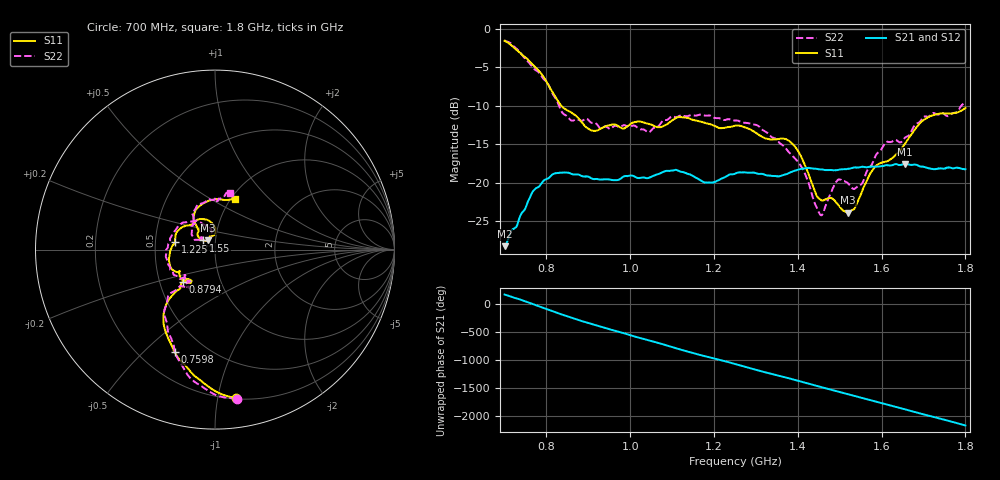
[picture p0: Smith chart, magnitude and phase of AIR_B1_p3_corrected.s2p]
! Created with skrf 1.9.0 (http://scikit-rf.org).
# Hz S RI R 50.0
!freq ReS11 ImS11 ReS21 ImS21 ReS12 ImS12 ReS22 ImS22
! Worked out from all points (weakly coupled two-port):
!   1601 points, 700 MHz to 1.8 GHz, reference 50 ohm
!   highest |S21| = -17.58 dB at 1.655 GHz (marker M1); lowest = -28.3 dB at 700 MHz (marker M2)
!   lowest |S11| = -23.9 dB at 1.52 GHz (marker M3), VSWR 1.14, Z = 46.2 + j4.78 ohm
!   |S11| at or under -10 dB: 835.1 MHz to end of sweep
!   |S22| runs from -24.3 to -1.5 dB; largest |S21 - S12| = 0.0023
!   S11 on the Smith chart (normalised r, x): 700 MHz: 0.21, -1.13; 759.8 MHz: 0.34, -0.63; 879.4 MHz: 0.66, -0.25; 1.225 GHz: 0.63, +0.06; 1.55 GHz: 0.87, +0.09; 1.8 GHz: 1.05, +0.66
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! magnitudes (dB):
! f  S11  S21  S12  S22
! 700 MHz  -1.6  -28.3  -28.0  -1.5
! 759.8 MHz  -4.3  -22.0  -21.9  -4.5
! 817.6 MHz  -8.5  -18.8  -19.0  -8.7
! 840.9 MHz  -10.3  -18.7  -18.7  -11.1
! 879.4 MHz  -11.8  -19.0  -19.1  -11.9
! 883.6 MHz  -12.1  -19.2  -19.0  -12.0
! 1.067 GHz  -12.8  -18.9  -18.8  -12.7
! 1.118 GHz  -11.5  -18.6  -18.5  -11.3
! 1.225 GHz  -12.9  -19.4  -19.3  -11.9
! 1.25 GHz  -12.6  -18.9  -18.8  -11.9
! 1.379 GHz  -14.6  -18.8  -18.8  -16.1
! 1.411 GHz  -17.0  -18.2  -18.2  -18.2
! 1.434 GHz  -20.1  -18.2  -18.1  -21.6
! 1.456 GHz  -22.3  -18.3  -18.3  -24.2
! 1.493 GHz  -22.7  -18.4  -18.4  -19.9
! 1.52 GHz  -23.9  -18.2  -18.2  -20.1
! 1.55 GHz  -21.7  -18.0  -18.0  -20.3
! 1.582 GHz  -18.1  -17.9  -17.9  -17.0
! 1.617 GHz  -17.1  -17.8  -17.7  -14.7
! 1.655 GHz  -15.0  -17.6  -17.6  -14.2
! 1.708 GHz  -11.6  -18.1  -18.1  -11.4
! 1.8 GHz  -10.3  -18.3  -18.3  -9.7
